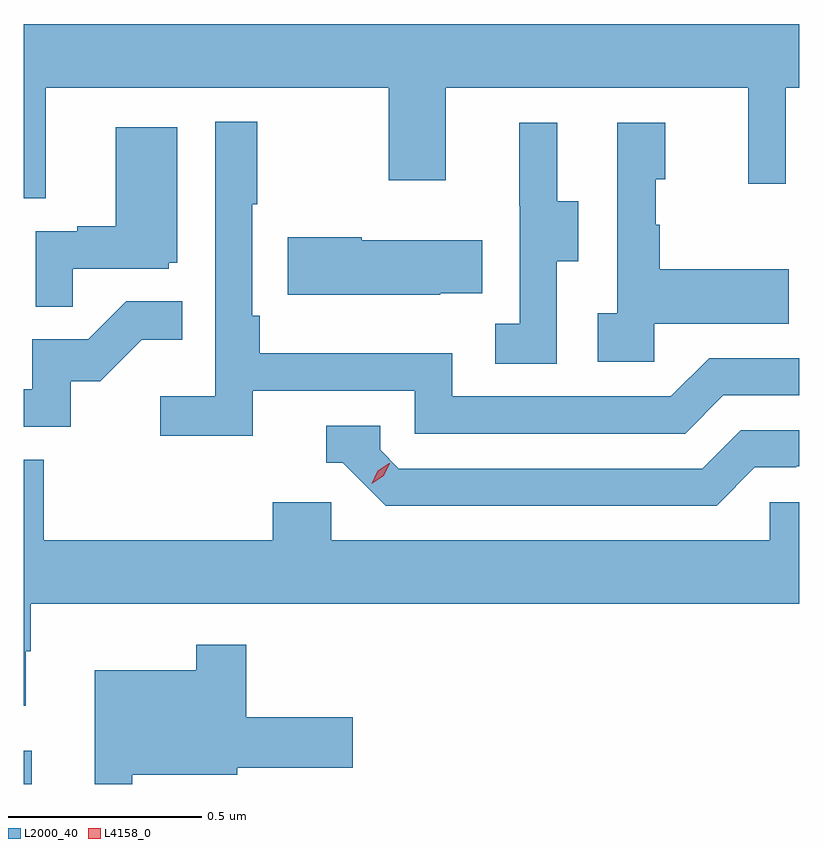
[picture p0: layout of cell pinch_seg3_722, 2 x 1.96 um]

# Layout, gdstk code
import gdstk
lib = gdstk.Library(unit=1e-6, precision=1e-09)
def R(c, l, rs):  # rectangles x0, y0, x1, y1
    for r in rs: c.add(gdstk.rectangle(r[:2], r[2:], *l))
def P(c, l, *ps):  # polygons
    for p in ps: c.add(gdstk.Polygon(p, *l))
L2000_40 = (2000, 40)
L4158_0 = (4158, 0)

pinch_seg3_722 = lib.new_cell('pinch_seg3_722')
R(pinch_seg3_722, L2000_40, [(1089.071,681.803,1089.091,681.889)])
P(pinch_seg3_722, L2000_40, [(1089.127,683.6),(1090.012,683.6),(1090.012,683.361),(1090.159,683.361),(1090.159,683.6),(1090.94,683.6),(1090.94,683.352),(1091.037,683.352),(1091.037,683.6),(1091.071,683.6),(1091.071,683.764),(1089.071,683.764),(1089.071,683.314),(1089.127,683.314)],
  [(1089.662,682.818),(1090.08,682.818),(1090.08,682.707),(1090.777,682.707),(1090.876,682.806),(1091.071,682.806),(1091.071,682.902),(1090.839,682.902),(1090.74,682.803),(1090.176,682.803),(1090.176,682.915),(1089.68,682.915),(1089.68,683.011),(1089.66,683.011),(1089.66,683.299),(1089.673,683.299),(1089.673,683.512),(1089.564,683.512),(1089.564,682.804),(1089.423,682.804),(1089.423,682.702),(1089.662,682.702)],
  [(1090.446,683.152),(1090.501,683.152),(1090.501,683.307),(1090.447,683.307),(1090.447,683.509),(1090.349,683.509),(1090.349,683.295),(1090.35,683.295),(1090.35,682.991),(1090.287,682.991),(1090.287,682.888),(1090.446,682.888)],
  [(1090.698,682.991),(1091.045,682.991),(1091.045,683.131),(1090.711,683.131),(1090.711,683.246),(1090.701,683.246),(1090.701,683.364),(1090.726,683.364),(1090.726,683.509),(1090.602,683.509),(1090.602,683.018),(1090.551,683.018),(1090.551,682.893),(1090.698,682.893)],
  [(1089.197,683.133),(1089.444,683.133),(1089.444,683.148),(1089.466,683.148),(1089.466,683.497),(1089.308,683.497),(1089.308,683.242),(1089.209,683.242),(1089.209,683.229),(1089.102,683.229),(1089.102,683.035),(1089.197,683.035)],
  [(1090.145,683.069),(1090.253,683.069),(1090.253,683.206),(1089.943,683.206),(1089.943,683.214),(1089.752,683.214),(1089.752,683.066),(1090.145,683.066)],
  [(1089.192,682.842),(1089.268,682.842),(1089.375,682.949),(1089.479,682.949),(1089.479,683.048),(1089.335,683.048),(1089.237,682.95),(1089.093,682.95),(1089.093,682.821),(1089.071,682.821),(1089.071,682.725),(1089.192,682.725)],
  [(1090.957,682.62),(1091.064,682.62),(1091.064,682.623),(1091.071,682.623),(1091.071,682.716),(1090.92,682.716),(1090.821,682.617),(1090.038,682.617),(1089.99,682.665),(1089.99,682.728),(1089.851,682.728),(1089.851,682.632),(1089.894,682.632),(1090.005,682.521),(1090.858,682.521)],
  [(1089.076,682.145),(1089.088,682.145),(1089.088,682.268),(1091.071,682.268),(1091.071,682.53),(1090.995,682.53),(1090.995,682.432),(1089.864,682.432),(1089.864,682.53),(1089.713,682.53),(1089.713,682.432),(1089.122,682.432),(1089.122,682.64),(1089.071,682.64),(1089.071,682.005),(1089.076,682.005)],
  [(1089.351,681.827),(1089.621,681.827),(1089.621,681.845),(1089.919,681.845),(1089.919,681.975),(1089.644,681.975),(1089.644,682.162),(1089.516,682.162),(1089.516,682.096),(1089.254,682.096),(1089.254,681.803),(1089.351,681.803)])
P(pinch_seg3_722, L4158_0, [(1089.968,682.578),(1089.968,682.578),(1089.984,682.611),(1090.014,682.631),(1090.015,682.631),(1090.015,682.63),(1089.999,682.598),(1089.968,682.578)])

lib.write_gds('pinch_seg3_722.gds')
